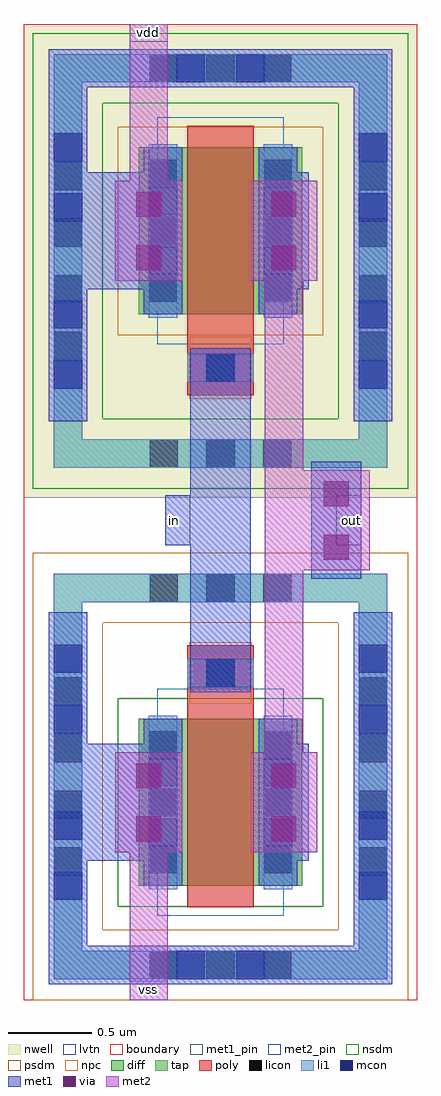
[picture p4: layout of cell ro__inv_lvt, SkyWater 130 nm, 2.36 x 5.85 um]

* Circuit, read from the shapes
.subckt ro__inv_lvt in out vdd vss
XM1 out in vss vss sky130_fd_pr__nfet_01v8_lvt w=1 l=0.4
XM2 out in vdd vdd sky130_fd_pr__pfet_01v8_lvt w=1 l=0.4
.ends

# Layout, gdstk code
from math import pi, radians
import gdstk
lib = gdstk.Library(unit=1e-6, precision=1e-09)
def R(c, l, rs):  # rectangles x0, y0, x1, y1
    for r in rs: c.add(gdstk.rectangle(r[:2], r[2:], *l))
def A(c, l, x, y, w, h, nx, ny, dx, dy):  # array of equal rectangles
    R(c, l, [(x+i*dx, y+j*dy, x+i*dx+w, y+j*dy+h) for i in range(nx) for j in range(ny)])
nwell = (64, 20)
diff = (65, 20)
tap = (65, 44)
poly = (66, 20)
licon = (66, 44)
li1 = (67, 20)
mcon = (67, 44)
met1_pin = (68, 16)
met1 = (68, 20)
via = (68, 44)
met2_pin = (69, 16)
met2 = (69, 20)
nsdm = (93, 44)
psdm = (94, 20)
npc = (95, 20)
lvtn = (125, 44)
boundary = (235, 4)

roi__mn = lib.new_cell('roi__MN')
R(roi__mn, diff, [(-0.49,-0.655,0.49,0.345)])
R(roi__mn, tap, [(-1,-1.215,1,-1.045), (-1,-1.045,-0.83,1.045), (0.83,-1.045,1,1.045), (-1,1.045,1,1.215)])
R(roi__mn, poly, [(-0.2,-0.785,0.2,0.785)])
A(roi__mn, licon, -0.425, -1.215, 0.17, 0.17, 3, 2, 0.34, 2.26)
A(roi__mn, licon, -1, -0.595, 0.17, 0.17, 1, 4, 0, 0.34)
A(roi__mn, licon, 0.83, -0.595, 0.17, 0.17, 1, 4, 0, 0.34)
A(roi__mn, licon, -0.43, -0.58, 0.17, 0.17, 1, 3, 0, 0.34)
A(roi__mn, licon, 0.26, -0.58, 0.17, 0.17, 1, 3, 0, 0.34)
R(roi__mn, licon, [(-0.085,0.535,0.085,0.705)])
R(roi__mn, li1, [(-1,-1.215,1,-1.045), (-1,-1.045,-0.83,1.045), (0.83,-1.045,1,1.045), (-0.43,-0.675,-0.26,0.365), (0.26,-0.675,0.43,0.365), (-0.2,0.535,0.2,0.705), (-1,1.045,1,1.215)])
R(roi__mn, mcon, [(-0.43,-0.42,-0.26,-0.25), (0.26,-0.42,0.43,-0.25), (-0.43,-0.06,-0.26,0.11), (0.26,-0.06,0.43,0.11), (-0.085,0.535,0.085,0.705)])
R(roi__mn, met1, [(-0.46,-0.655,-0.23,0.345), (0.23,-0.655,0.46,0.345), (-0.18,0.505,0.18,0.735)])
R(roi__mn, nsdm, [(-0.615,-0.78,0.615,0.47)])
R(roi__mn, psdm, [(-1.125,-1.34,1.125,-0.92), (-1.125,-0.92,-0.705,0.92), (0.705,-0.92,1.125,0.92), (-1.125,0.92,1.125,1.34)])
R(roi__mn, npc, [(-0.185,0.435,0.185,0.805)])
R(roi__mn, lvtn, [(-0.38,-0.835,0.38,0.525)])
R(roi__mn, boundary, [(-0.915,-1.13,0.915,1.13)])

via__li_m1 = lib.new_cell('via__LI_M1')
R(via__li_m1, li1, [(0.03,0.03,0.56,0.2)])
R(via__li_m1, mcon, [(0.03,0.03,0.2,0.2), (0.39,0.03,0.56,0.2)])
R(via__li_m1, met1, [(0,0,0.59,0.23)])

via__m1_m2 = lib.new_cell('via__M1_M2')
R(via__m1_m2, met1, [(0,0.05,0.7,0.35)])
R(via__m1_m2, via, [(0.115,0.125,0.265,0.275), (0.435,0.125,0.585,0.275)])
R(via__m1_m2, met2, [(0.05,0,0.65,0.4)])

roi__mp = lib.new_cell('roi__MP')
R(roi__mp, nwell, [(-1.18,-1.42,1.18,1.42)])
R(roi__mp, diff, [(-0.49,-0.32,0.49,0.68)])
R(roi__mp, tap, [(-1,-1.24,1,-1.07), (-1,-1.07,-0.83,1.07), (0.83,-1.07,1,1.07), (-1,1.07,1,1.24)])
R(roi__mp, poly, [(-0.2,-0.805,0.2,0.81)])
A(roi__mp, licon, -0.425, -1.24, 0.17, 0.17, 3, 2, 0.34, 2.31)
A(roi__mp, licon, -1, -0.595, 0.17, 0.17, 1, 4, 0, 0.34)
A(roi__mp, licon, 0.83, -0.595, 0.17, 0.17, 1, 4, 0, 0.34)
A(roi__mp, licon, -0.43, -0.245, 0.17, 0.17, 1, 3, 0, 0.34)
A(roi__mp, licon, 0.26, -0.245, 0.17, 0.17, 1, 3, 0, 0.34)
R(roi__mp, licon, [(-0.085,-0.725,0.085,-0.555)])
R(roi__mp, li1, [(-1,-1.24,1,-1.07), (-1,-1.07,-0.83,1.07), (0.83,-1.07,1,1.07), (-0.2,-0.725,0.2,-0.555), (-0.43,-0.34,-0.26,0.7), (0.26,-0.34,0.43,0.7), (-1,1.07,1,1.24)])
R(roi__mp, mcon, [(-0.085,-0.725,0.085,-0.555), (-0.43,-0.085,-0.26,0.085), (0.26,-0.085,0.43,0.085), (-0.43,0.275,-0.26,0.445), (0.26,0.275,0.43,0.445)])
R(roi__mp, met1, [(-0.18,-0.755,0.18,-0.525), (-0.46,-0.32,-0.23,0.68), (0.23,-0.32,0.46,0.68)])
R(roi__mp, nsdm, [(-1.125,-1.365,1.125,-0.945), (-1.125,-0.945,-0.705,0.945), (0.705,-0.945,1.125,0.945), (-1.125,0.945,1.125,1.365)])
R(roi__mp, psdm, [(-0.615,-0.445,0.615,0.805)])
R(roi__mp, npc, [(-0.185,-0.825,0.185,-0.455)])
R(roi__mp, lvtn, [(-0.38,-0.5,0.38,0.86)])
R(roi__mp, boundary, [(-0.915,-1.155,0.915,1.155)])

ro__inv_lvt = lib.new_cell('ro__inv_lvt')
R(ro__inv_lvt, met1_pin, [(0.85,2.725,1,3.025), (1.875,2.725,2.025,3.025)])
R(ro__inv_lvt, met1, [(0.38,0.835,0.6,1.535), (1,1.845,1.36,3.905), (0.85,2.725,1,3.025), (1.875,2.725,2.025,3.025), (0.38,4.26,0.6,4.96)])
R(ro__inv_lvt, met2_pin, [(0.635,0,0.865,0.115), (0.635,5.745,0.865,5.85)])
R(ro__inv_lvt, boundary, [(0,0,2.36,5.85)])
ro__inv_lvt.add(gdstk.FlexPath([(0.265,3.585),(0.265,5.585)], 0.23, ends="extended", simple_path=True, layer=68, datatype=20))  # met1
ro__inv_lvt.add(gdstk.FlexPath([(0.265,5.585),(2.095,5.585)], 0.23, ends="extended", simple_path=True, layer=68, datatype=20))  # met1
ro__inv_lvt.add(gdstk.FlexPath([(2.095,3.585),(2.095,5.585)], 0.23, ends="extended", simple_path=True, layer=68, datatype=20))  # met1
ro__inv_lvt.add(gdstk.FlexPath([(0.265,2.21),(0.265,0.21)], 0.23, ends="extended", simple_path=True, layer=68, datatype=20))  # met1
ro__inv_lvt.add(gdstk.FlexPath([(0.265,0.21),(2.095,0.21)], 0.23, ends="extended", simple_path=True, layer=68, datatype=20))  # met1
ro__inv_lvt.add(gdstk.FlexPath([(2.095,2.21),(2.095,0.21)], 0.23, ends="extended", simple_path=True, layer=68, datatype=20))  # met1
ro__inv_lvt.add(gdstk.FlexPath([(0.75,5.025),(0.75,5.735)], 0.23, ends="extended", simple_path=True, layer=69, datatype=20))  # met2
ro__inv_lvt.add(gdstk.FlexPath([(0.75,0.77),(0.75,0.115)], 0.23, ends="extended", simple_path=True, layer=69, datatype=20))  # met2
ro__inv_lvt.add(gdstk.FlexPath([(1.56,4.195),(1.56,1.6)], 0.23, ends="extended", simple_path=True, layer=69, datatype=20))  # met2
ro__inv_lvt.add(gdstk.Reference(roi__mn, (1.18,1.34)))
ro__inv_lvt.add(gdstk.Reference(via__li_m1, (0.15,4.225), rotation=3*pi/2))
ro__inv_lvt.add(gdstk.Reference(via__m1_m2, (1.36,4.96), rotation=3*pi/2))
ro__inv_lvt.add(gdstk.Reference(via__m1_m2, (0.55,4.96), rotation=3*pi/2))
ro__inv_lvt.add(gdstk.Reference(via__m1_m2, (1.36,1.535), rotation=3*pi/2))
ro__inv_lvt.add(gdstk.Reference(via__m1_m2, (0.55,1.535), rotation=3*pi/2))
ro__inv_lvt.add(gdstk.Reference(via__li_m1, (0.15,5.225), rotation=3*pi/2))
ro__inv_lvt.add(gdstk.Reference(via__li_m1, (1.98,4.225), rotation=3*pi/2))
ro__inv_lvt.add(gdstk.Reference(via__li_m1, (1.98,5.225), rotation=3*pi/2))
ro__inv_lvt.add(gdstk.Reference(via__li_m1, (1.475,5.7), rotation=pi))
ro__inv_lvt.add(gdstk.Reference(via__li_m1, (0.15,1.57), rotation=pi/2, x_reflection=True))
ro__inv_lvt.add(gdstk.Reference(roi__mp, (1.18,4.43)))
ro__inv_lvt.add(gdstk.Reference(via__li_m1, (0.15,0.57), rotation=pi/2, x_reflection=True))
ro__inv_lvt.add(gdstk.Reference(via__li_m1, (1.98,1.57), rotation=pi/2, x_reflection=True))
ro__inv_lvt.add(gdstk.Reference(via__li_m1, (1.98,0.57), rotation=pi/2, x_reflection=True))
ro__inv_lvt.add(gdstk.Reference(via__li_m1, (1.475,0.095), rotation=pi, x_reflection=True))
ro__inv_lvt.add(gdstk.Reference(via__m1_m2, (2.075,2.525), rotation=pi/2))
ro__inv_lvt.add(gdstk.Label('out', (1.965,2.875), layer=68, texttype=16))
ro__inv_lvt.add(gdstk.Label('in', (0.905,2.875), layer=68, texttype=16))
ro__inv_lvt.add(gdstk.Label('vdd', (0.75,5.8), layer=69, texttype=16))
ro__inv_lvt.add(gdstk.Label('vss', (0.75,0.06), layer=69, texttype=16))

lib.write_gds('ro__inv_lvt.gds')
